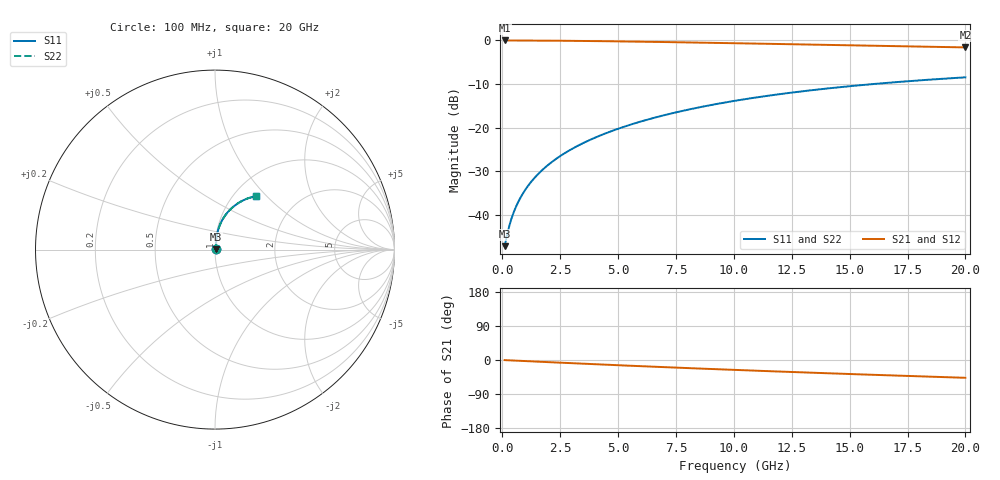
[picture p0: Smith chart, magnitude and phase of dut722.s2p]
! Touchstone file exported from HFSS 2024.1.0
!  File:  C:/UserFiles/LocalFiles/RDL_TSV_Batchsim/temp_RDL_bottom_722_1779858515.aedt
!  Generated:  01:11:08 PM May 27, 2026
!  Design:  RDL_bottom
!  Project:  temp_RDL_bottom_722_1779858515
!  Setup:  Setup1
!  Solution:  Sweep
! Variables:
!  dtsv = 10.80580581um
!  hbump = 3um
!  htsv = 88.69um
!  ldown = 694.83um
!  lrdl = 100um
!  p = 40
!  p1 = 46.46um
!  rhole = 1um
!  t = 450um
!  tdown = 2.97um
!  trdl = 3.915915916um
!  wdown = 22.89um
!  wrdl = 20um
# GHz S MA R 50.000000
! Terminal data exported
! Port[1] = RDL1_T1
! Port[2] = RDL1_T2
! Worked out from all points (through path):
!   200 points, 100 MHz to 20 GHz, reference 50 ohm
!   highest |S21| = -0.03 dB at 100 MHz (marker M1); lowest = -1.6 dB at 20 GHz (marker M2)
!   group delay of S21, straight-line fit = 6.48 ps
!   lowest |S11| = -47.1 dB at 100 MHz (marker M3), VSWR 1.01, Z = 50.4 + j0.215 ohm
!   |S11| at or under -10 dB: start of sweep to 16.05 GHz
!   |S22| runs from -47.1 to -8.5 dB; largest |S21 - S12| = 3.2e-15
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0.1  0.004401 29.0  0.9961 -0.3  0.9961 -0.3  0.004401 29.0
! Gamma 0 0 0 0
! Port Impedance 50 0 50 0
0.2  0.005808 46.1  0.9959 -0.6  0.9959 -0.6  0.005807 46.1
0.3  0.007461 55.4  0.9957 -0.9  0.9957 -0.9  0.007461 55.4
0.4  0.009166 61.1  0.9954 -1.2  0.9954 -1.2  0.009166 61.1
0.5  0.01088 65.0  0.9952 -1.5  0.9952 -1.5  0.01088 65.0
0.6  0.0126 67.9  0.995 -1.7  0.995 -1.7  0.0126 67.9
0.8  0.01607 72.0  0.9945 -2.3  0.9945 -2.3  0.01607 72.0
1  0.01959 74.8  0.994 -2.9  0.994 -2.9  0.01959 74.8
1.2  0.02316 76.8  0.9935 -3.4  0.9935 -3.4  0.02316 76.8
1.7  0.03228 79.8  0.992 -4.8  0.992 -4.8  0.03228 79.8
2.2  0.04162 81.3  0.9901 -6.2  0.9901 -6.2  0.04162 81.3
2.8  0.05307 82.2  0.9872 -7.9  0.9872 -7.9  0.05308 82.2
3.5  0.06676 82.5  0.9832 -9.8  0.9832 -9.8  0.06677 82.5
4.2  0.08077 82.3  0.9786 -11.7  0.9786 -11.7  0.08079 82.3
5  0.09713 81.7  0.9726 -13.8  0.9726 -13.8  0.09716 81.7
6.8  0.1349 79.2  0.9573 -18.4  0.9573 -18.4  0.1349 79.2
8.4  0.1687 76.3  0.9423 -22.3  0.9423 -22.3  0.1688 76.3
10.1  0.2042 72.9  0.9258 -26.3  0.9258 -26.3  0.2043 72.9
11.7  0.2365 69.4  0.9099 -29.9  0.9099 -29.9  0.2366 69.5
13.4  0.2692 65.8  0.893 -33.6  0.893 -33.6  0.2694 65.8
16.7  0.3271 58.8  0.8606 -40.5  0.8606 -40.5  0.3273 58.9
20  0.3769 52.2  0.8294 -46.9  0.8294 -46.9  0.3771 52.3
